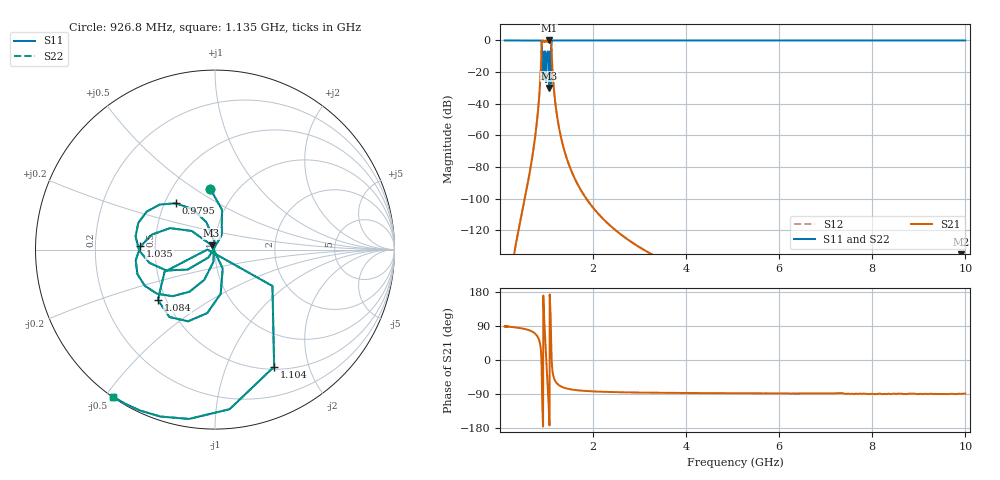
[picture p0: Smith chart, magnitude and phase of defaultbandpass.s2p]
# GHz S RI R 50
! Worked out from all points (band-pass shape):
!   1000 points, 100 MHz to 10 GHz, reference 50 ohm
!   highest |S21| = 0.00 dB at 1.054 GHz (marker M1); lowest = -189.0 dB at 9.908 GHz (marker M2)
!   |S21| within 3 dB of the highest: 897 MHz to 1.104 GHz (206.6 MHz wide, 20.7 % of centre)
!   lowest |S11| = -30.1 dB at 1.054 GHz (marker M3), VSWR 1.06, Z = 48.1 + j2.4 ohm
!   |S11| at or under -10 dB: 927.5 MHz to 949.7 MHz (22.18 MHz wide, 2.36 % of centre); 980.6 MHz to 1.01 GHz (29.01 MHz wide, 2.92 % of centre); 1.042 GHz to 1.068 GHz (25.13 MHz wide, 2.38 % of centre)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
!   |S22| runs from -30.1 to 0.0 dB; largest |S21 - S12| = 1.8e-10
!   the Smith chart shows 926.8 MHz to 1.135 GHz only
!   S11 on the Smith chart (normalised r, x): 926.8 MHz: 0.76, +0.58; 979.5 MHz: 0.57, +0.33; 1.035 GHz: 0.41, +0.02; 1.084 GHz: 0.45, -0.31; 1.104 GHz: 0.53, -1.49; 1.135 GHz: 0.00, -0.52
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0.1  -0.9998 0.0191  7.65e-12 4e-10  7.65e-12 4e-10  -0.9998 0.0191
0.6619433  -0.9738 0.2275  2.39e-05 0.000102  2.39e-05 0.000102  -0.9738 0.2275
0.807062  -0.8827 0.4699  0.00194 0.00364  0.00194 0.00364  -0.8827 0.4699
0.8850075  -0.2804 0.9346  0.2096 0.0629  0.2096 0.0629  -0.2804 0.9346
0.9267593  -0.026 0.3382  -0.938 -0.0721  -0.938 -0.0721  -0.026 0.3382
0.95275  -0.3653 -0.0739  -0.184 0.9095  -0.184 0.9095  -0.3653 -0.0739
0.9794697  -0.219 0.2582  0.7176 0.6086  0.7176 0.6086  -0.219 0.2582
1.006939  -0.1421 -0.2347  0.8226 -0.4981  0.8226 -0.4981  -0.1421 -0.2347
1.035178  -0.4154 0.0182  -0.0398 -0.9086  -0.0398 -0.9086  -0.4154 0.0182
1.054443  -0.0188 0.0249  -0.7976 -0.6024  -0.7976 -0.6024  -0.0188 0.0249
1.084014  -0.3179 -0.2804  -0.5991 0.6792  -0.5991 0.6792  -0.3179 -0.2804
1.104188  0.3296 -0.652  0.6094 0.3081  0.6094 0.3081  0.3296 -0.652
1.135155  -0.5663 -0.8202  0.0671 -0.0463  0.0671 -0.0463  -0.5663 -0.8202
1.233363  -0.8897 -0.4565  0.00163 -0.00317  0.00163 -0.00317  -0.8897 -0.4565
1.409773  -0.963 -0.2694  6.62e-05 -0.000237  6.62e-05 -0.000237  -0.963 -0.2694
1.750827  -0.9873 -0.159  2.77e-06 -1.72e-05  2.77e-06 -1.72e-05  -0.9873 -0.159
3.400412  -0.9982 -0.0603  8.2e-09 -1.36e-07  8.2e-09 -1.36e-07  -0.9982 -0.0603
5.054797  -0.9993 -0.0386  6e-10 -1.45e-08  6e-10 -1.45e-08  -0.9993 -0.0386
6.727099  -0.9996 -0.0285  9.12e-11 -3.2e-09  9.12e-11 -3.2e-09  -0.9996 -0.0285
8.354528  -0.9997 -0.0228  2.16e-11 -1.04e-09  1.96e-11 -1.06e-09  -0.9997 -0.0228
9.908228  -0.9998 -0.0191  5.38e-12 -3.53e-10  7.17e-12 -3.47e-10  -0.9998 -0.0191
10  -0.9998 -0.0189  7.57e-12 -4e-10  7.57e-12 -4e-10  -0.9998 -0.0189
